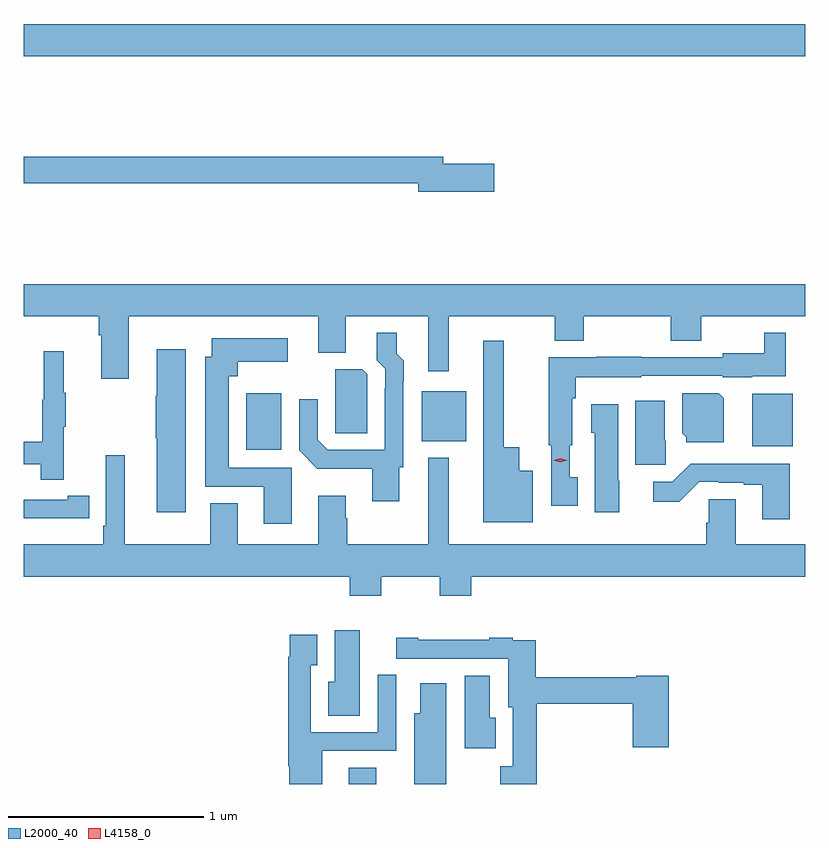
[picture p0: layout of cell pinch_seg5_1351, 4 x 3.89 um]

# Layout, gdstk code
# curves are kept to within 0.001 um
import gdstk
lib = gdstk.Library(unit=1e-6, precision=1e-09)
def R(c, l, rs):  # rectangles x0, y0, x1, y1
    for r in rs: c.add(gdstk.rectangle(r[:2], r[2:], *l))
def P(c, l, *ps):  # polygons
    for p in ps: c.add(gdstk.Polygon(p, *l))
L2000_40 = (2000, 40)
L4158_0 = (4158, 0)

pinch_seg5_1351 = lib.new_cell('pinch_seg5_1351')
R(pinch_seg5_1351, L2000_40, [(182.747,910.31,182.887,910.394), (182.222,912.02,182.401,912.31), (184.814,912.038,185.02,912.308), (183.122,912.065,183.349,912.319), (181.084,914.036,185.084,914.2)])
P(pinch_seg5_1351, L2000_40, [(183.493,913.484),(183.232,913.484),(183.232,913.52),(181.084,913.52),(181.084,913.384),(183.104,913.384),(183.104,913.342),(183.493,913.342)],
  [(181.621,912.704),(182.591,912.704),(182.591,912.517),(182.731,912.517),(182.731,912.704),(183.155,912.704),(183.155,912.423),(183.259,912.423),(183.259,912.704),(183.803,912.704),(183.803,912.58),(183.951,912.58),(183.951,912.704),(184.396,912.704),(184.396,912.58),(184.551,912.58),(184.551,912.704),(185.084,912.704),(185.084,912.868),(181.084,912.868),(181.084,912.704),(181.469,912.704),(181.469,912.608),(181.481,912.608),(181.481,912.384),(181.621,912.384)],
  [(183.919,911.881),(183.879,911.881),(183.879,912.045),(183.892,912.045),(183.892,912.285),(183.91,912.285),(183.91,912.392),(184.245,912.392),(184.245,912.399),(184.662,912.399),(184.662,912.392),(184.812,912.392),(184.812,912.398),(184.985,912.398),(184.985,912.619),(184.875,912.619),(184.875,912.514),(184.662,912.514),(184.662,912.495),(184.245,912.495),(184.245,912.497),(184.013,912.497),(184.013,912.495),(183.77,912.495),(183.77,912.045),(183.783,912.045),(183.783,911.733),(183.919,911.733)],
  [(183.007,911.931),(183.027,911.931),(183.028,912.476),(182.992,912.512),(182.992,912.619),(182.891,912.619),(182.891,912.478),(182.934,912.435),(182.934,912.335),(182.931,912.335),(182.931,912.021),(182.64,912.021),(182.589,912.072),(182.589,912.28),(182.493,912.28),(182.493,912.018),(182.587,911.924),(182.867,911.924),(182.867,911.757),(183.007,911.757)],
  [(182.455,911.928),(182.134,911.928),(182.134,912.398),(182.179,912.398),(182.179,912.47),(182.434,912.47),(182.434,912.592),(182.045,912.592),(182.045,912.496),(182.012,912.496),(182.012,911.832),(182.312,911.832),(182.312,911.643),(182.455,911.643)],
  [(183.688,911.914),(183.619,911.914),(183.619,912.034),(183.541,912.034),(183.541,912.58),(183.437,912.58),(183.437,911.651),(183.688,911.651)],
  [(181.912,912.535),(181.766,912.535),(181.766,912.296),(181.759,912.296),(181.759,912.079),(181.766,912.079),(181.766,911.7),(181.912,911.7)],
  [(181.289,912.139),(181.3,912.139),(181.3,912.313),(181.289,912.313),(181.289,912.526),(181.186,912.526),(181.186,912.276),(181.179,912.276),(181.179,912.062),(181.084,912.062),(181.084,911.946),(181.171,911.946),(181.171,911.868),(181.289,911.868)],
  [(182.841,912.408),(182.817,912.432),(182.678,912.432),(182.678,912.217),(182.679,912.217),(182.679,912.106),(182.841,912.106)],
  [(184.666,912.284),(184.64,912.31),(184.454,912.31),(184.454,912.106),(184.476,912.084),(184.476,912.059),(184.666,912.059)],
  [(184.37,912.066),(184.366,912.066),(184.366,912.271),(184.214,912.271),(184.214,911.943),(184.37,911.943)],
  [(184.132,911.862),(184.126,911.862),(184.126,912.253),(183.989,912.253),(183.989,912.108),(184.007,912.108),(184.007,911.7),(184.132,911.7)],
  [(182.913,911.372),(183.214,911.372),(183.214,911.273),(183.374,911.273),(183.374,911.372),(185.084,911.372),(185.084,911.536),(184.729,911.536),(184.729,911.768),(184.59,911.768),(184.59,911.646),(184.577,911.646),(184.577,911.536),(183.259,911.536),(183.259,911.98),(183.155,911.98),(183.155,911.536),(182.739,911.536),(182.739,911.669),(182.731,911.669),(182.731,911.785),(182.591,911.785),(182.591,911.536),(182.179,911.536),(182.179,911.747),(182.039,911.747),(182.039,911.536),(181.6,911.536),(181.6,911.992),(181.503,911.992),(181.503,911.632),(181.49,911.632),(181.49,911.536),(181.084,911.536),(181.084,911.372),(182.753,911.372),(182.753,911.273),(182.913,911.273)],
  [(185.005,911.95),(184.498,911.95),(184.404,911.856),(184.305,911.856),(184.305,911.754),(184.44,911.754),(184.542,911.856),(184.642,911.856),(184.642,911.853),(184.769,911.853),(184.769,911.841),(184.865,911.841),(184.865,911.664),(185.005,911.664)],
  [(181.31,911.67),(181.418,911.67),(181.418,911.786),(181.31,911.786),(181.31,911.766),(181.084,911.766),(181.084,911.669),(181.31,911.669)],
  [(182.803,911.098),(182.675,911.098),(182.675,910.834),(182.642,910.834),(182.642,910.66),(182.803,910.66)],
  [(182.611,910.479),(182.991,910.479),(182.991,910.869),(182.895,910.869),(182.895,910.575),(182.553,910.575),(182.553,910.918),(182.587,910.918),(182.587,911.074),(182.445,911.074),(182.445,910.961),(182.437,910.961),(182.437,910.402),(182.444,910.402),(182.444,910.31),(182.611,910.31)],
  [(183.709,910.72),(184.202,910.72),(184.202,910.497),(184.385,910.497),(184.385,910.864),(184.218,910.864),(184.218,910.856),(183.704,910.856),(183.704,911.046),(183.587,911.046),(183.587,911.059),(183.467,911.059),(183.467,911.049),(183.103,911.049),(183.103,911.059),(182.991,911.059),(182.991,910.95),(183.563,910.95),(183.563,910.704),(183.587,910.704),(183.587,910.402),(183.522,910.402),(183.522,910.31),(183.709,910.31)],
  [(183.499,910.65),(183.469,910.65),(183.469,910.865),(183.341,910.865),(183.341,910.494),(183.499,910.494)],
  [(183.247,910.825),(183.113,910.825),(183.113,910.672),(183.083,910.672),(183.083,910.31),(183.247,910.31)])
P(pinch_seg5_1351, L4158_0, [(183.831,911.958),(183.795,911.968),(183.795,911.968),(183.795,911.968),(183.831,911.978),(183.867,911.968),(183.867,911.968),(183.867,911.968)])

lib.write_gds('pinch_seg5_1351.gds')
